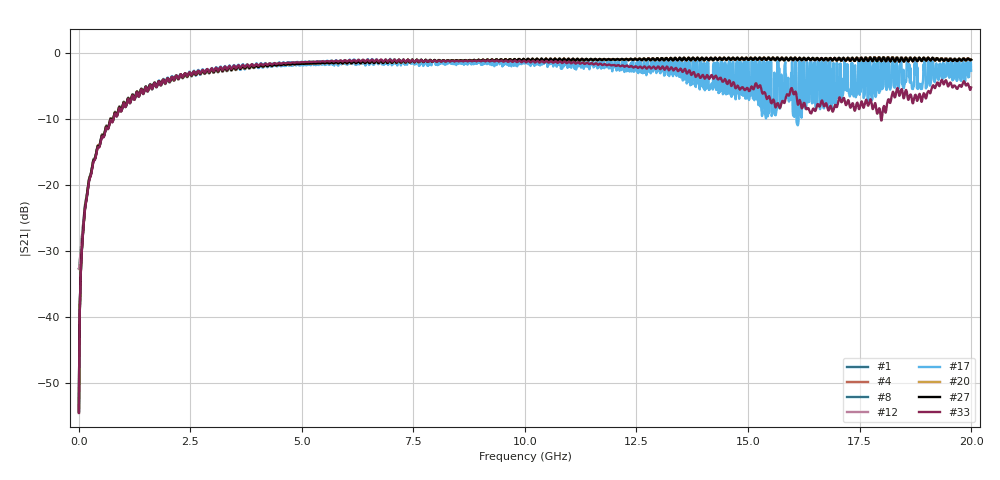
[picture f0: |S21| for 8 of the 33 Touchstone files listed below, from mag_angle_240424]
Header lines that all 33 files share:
!  2-Port S-parameters saved by WinCal
! VAR MeasName=S-Parameters (CALIBRATED_DATA) read from VNA (P5004A)
! VAR PHYS_PORTS=1,2
! VAR ObjTypeName=DATASET
! VAR IndexType=Frequency
# Hz S MA R 50
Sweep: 4.01 MHz to 20 GHz
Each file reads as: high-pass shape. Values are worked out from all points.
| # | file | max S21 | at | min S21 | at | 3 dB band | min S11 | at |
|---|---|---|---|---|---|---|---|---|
| 1 | Wafer2_r1_c1_HRS 2.S2P | -0.62 dB | 18.24 GHz | -54.4 dB | 4.01 MHz | 2.344 GHz-20 GHz | -10.5 dB | 17.98 GHz |
| 2 | Wafer2_r1_c1_HRS 3.S2P | -0.62 dB | 18.24 GHz | -54.3 dB | 4.01 MHz | 2.34 GHz-20 GHz | -10.4 dB | 18.08 GHz |
| 3 | Wafer2_r1_c1_HRS.S2P | -0.61 dB | 18.24 GHz | -54.3 dB | 4.01 MHz | 2.344 GHz-20 GHz | -10.5 dB | 18.09 GHz |
| 4 | Wafer2_r1_c1_LRS 2.S2P | -0.63 dB | 18.24 GHz | -54.3 dB | 4.01 MHz | 2.34 GHz-20 GHz | -10.5 dB | 17.98 GHz |
| 5 | Wafer2_r1_c1_LRS 3.S2P | -0.62 dB | 18.24 GHz | -29.3 dB | 8.011 MHz | 2.44 GHz-20 GHz | -10.4 dB | 17.98 GHz |
| 6 | Wafer2_r1_c1_LRS 4.S2P | -0.61 dB | 18.24 GHz | -29.3 dB | 8.011 MHz | 2.44 GHz-20 GHz | -10.4 dB | 17.98 GHz |
| 7 | Wafer2_r1_c1_LRS.S2P | -0.63 dB | 18.24 GHz | -33.9 dB | 4.01 MHz | 2.348 GHz-20 GHz | -10.4 dB | 17.98 GHz |
| 8 | Wafer2_r1_c1_overformed2.S2P | -0.61 dB | 18.24 GHz | -32.7 dB | 4.01 MHz | 2.436 GHz-20 GHz | -10.4 dB | 18.09 GHz |
| 9 | Wafer2_r1_c1_overformed 2.S2P | -0.64 dB | 18.24 GHz | -54.3 dB | 4.01 MHz | 2.336 GHz-20 GHz | -10.4 dB | 15.56 GHz |
| 10 | Wafer2_r1_c1_overformed 3.S2P | -0.64 dB | 18.24 GHz | -54.3 dB | 4.01 MHz | 2.336 GHz-20 GHz | -10.4 dB | 15.56 GHz |
| 11 | Wafer2_r1_c1_overformed 4.S2P | -0.62 dB | 18.24 GHz | -54.4 dB | 4.01 MHz | 2.344 GHz-20 GHz | -10.5 dB | 18.29 GHz |
| 12 | Wafer2_r1_c1_overformed.S2P | -0.62 dB | 18.24 GHz | -32.7 dB | 4.01 MHz | 2.432 GHz-20 GHz | -10.5 dB | 18.09 GHz |
| 13 | Wafer2_r1_c2_pristine 2.S2P | -0.62 dB | 18.04 GHz | -54.5 dB | 4.01 MHz | 2.348 GHz-20 GHz | -10.6 dB | 18.09 GHz |
| 14 | Wafer2_r1_c2_pristine 3.S2P | -0.62 dB | 18.04 GHz | -54.5 dB | 4.01 MHz | 2.348 GHz-20 GHz | -10.6 dB | 18.19 GHz |
| 15 | Wafer2_r1_c2_pristine 4.S2P | -0.62 dB | 18.04 GHz | -54.5 dB | 4.01 MHz | 2.348 GHz-20 GHz | -10.6 dB | 18.19 GHz |
| 16 | Wafer2_r1_c2_pristine.S2P | -0.67 dB | 17.94 GHz | -54.5 dB | 4.01 MHz | 2.348 GHz-20 GHz | -10.9 dB | 18.39 GHz |
| 17 | Wafer2_r1_c3_pristine 3.S2P | -0.72 dB | 18.06 GHz | -54.5 dB | 4.01 MHz | 2.236 GHz-13.53 GHz | -13.4 dB | 9.154 GHz |
| 18 | Wafer2_r1_c3_pristine 4.S2P | -0.67 dB | 18.76 GHz | -54.5 dB | 4.01 MHz | 2.344 GHz-13.41 GHz | -13.3 dB | 9.35 GHz |
| 19 | Wafer2_r1_c3_pristine 5.S2P | -0.65 dB | 18.04 GHz | -54.5 dB | 4.01 MHz | 2.244 GHz-13.43 GHz | -13.3 dB | 8.962 GHz |
| 20 | Wafer2_r1_c3_pristine 6.S2P | -0.61 dB | 18.04 GHz | -54.6 dB | 4.01 MHz | 2.344 GHz-20 GHz | -10.7 dB | 18.19 GHz |
| 21 | Wafer2_r1_c3_pristine 7.S2P | -0.61 dB | 18.04 GHz | -54.5 dB | 4.01 MHz | 2.344 GHz-20 GHz | -10.7 dB | 18.19 GHz |
| 22 | Wafer2_r1_c3_pristine 8.S2P | -0.62 dB | 18.04 GHz | -54.5 dB | 4.01 MHz | 2.344 GHz-20 GHz | -10.7 dB | 18.19 GHz |
| 23 | Wafer2_r1_c3_pristine 9.S2P | -0.61 dB | 18.04 GHz | -54.5 dB | 4.01 MHz | 2.344 GHz-20 GHz | -10.7 dB | 18.19 GHz |
| 24 | Wafer2_r1_c3_pristine 10.S2P | -0.62 dB | 18.04 GHz | -54.5 dB | 4.01 MHz | 2.344 GHz-20 GHz | -10.7 dB | 18.19 GHz |
| 25 | Wafer2_r1_c3_pristine 11.S2P | -0.62 dB | 18.04 GHz | -54.5 dB | 4.01 MHz | 2.344 GHz-20 GHz | -10.7 dB | 18.29 GHz |
| 26 | Wafer2_r1_c3_pristine 12.S2P | -0.62 dB | 18.04 GHz | -54.5 dB | 4.01 MHz | 2.344 GHz-20 GHz | -10.7 dB | 18.29 GHz |
| 27 | Wafer2_r1_c3_pristine 13.S2P | -0.64 dB | 18.04 GHz | -54.4 dB | 4.01 MHz | 2.34 GHz-20 GHz | -10.6 dB | 16.48 GHz |
| 28 | Wafer2_r1_c3_pristine 14.S2P | -0.64 dB | 18.04 GHz | -54.4 dB | 4.01 MHz | 2.34 GHz-20 GHz | -10.7 dB | 15.56 GHz |
| 29 | Wafer2_r1_c3_pristine 15.S2P | -0.64 dB | 18.04 GHz | -54.4 dB | 4.01 MHz | 2.34 GHz-20 GHz | -10.7 dB | 15.56 GHz |
| 30 | Wafer2_r1_c3_pristine 16.S2P | -0.64 dB | 18.04 GHz | -54.4 dB | 4.01 MHz | 2.34 GHz-20 GHz | -10.7 dB | 15.56 GHz |
| 31 | Wafer2_r1_c3_pristine 17.S2P | -0.64 dB | 18.04 GHz | -54.5 dB | 4.01 MHz | 2.34 GHz-20 GHz | -10.6 dB | 15.56 GHz |
| 32 | Wafer2_r1_c3_pristine 18.S2P | -0.64 dB | 18.04 GHz | -54.4 dB | 4.01 MHz | 2.34 GHz-20 GHz | -10.6 dB | 15.56 GHz |
| 33 | Wafer2_r1_c4_pristine.S2P | -0.94 dB | 6.777 GHz | -54.6 dB | 4.01 MHz | 2.148 GHz-14.32 GHz | -13.2 dB | 9.33 GHz |
